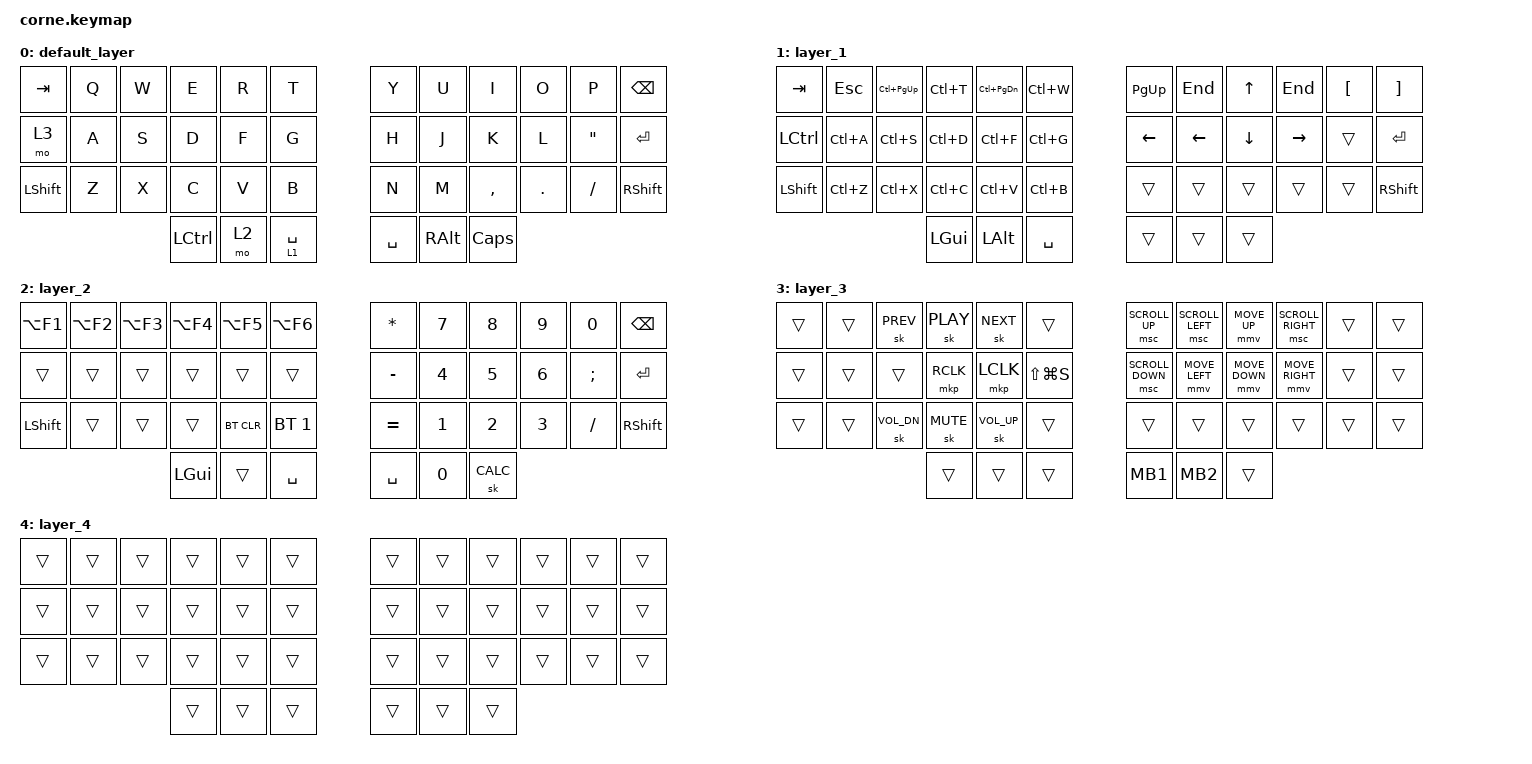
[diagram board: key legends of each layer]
/*
 * Copyright (c) 2020 The ZMK Contributors
 *
 * SPDX-License-Identifier: MIT
 */

#include <behaviors.dtsi>
#include <dt-bindings/zmk/keys.h>
#include <dt-bindings/zmk/bt.h>
#include <dt-bindings/zmk/mouse.h>
#include "mouse.dtsi"
#define AS(keycode) &as LS(keycode) keycode

#define BASE 0
#define NAV 1
#define MUS 2
#define NUM 3
#define FUN 4
#define MBASE 5
#define MNAV 6
#define MMUS 7
#define MNUM 8
#define MFUN 9
#define XXX &none
#define TRN &trans

/ {
    combos { compatible = "zmk,combos"; };

    keymap {
        compatible = "zmk,keymap";

        default_layer {
            // -----------------------------------------------------------------------------------------
            // |  TAB |  Q  |  W  |  E  |  R  |  T  |   |  Y  |  U   |  I  |  O  |  P  | BKSP |
            // |  mo3 |  A  |  S  |  D  |  F  |  G  |   |  H  |  J   |  K  |  L  |  ;  | ETR  |
            // | LSHFT|  Z  |  X  |  C  |  V  |  B  |   |  N  |  M   |  ,  |  .  |  /  | ESC  |
            //                    |LCTRL| mo2 | SPC |   | ENT | RSE  |CAPS |

            bindings = <
&kp TAB    &kp Q  &kp W  &kp E      &kp R  &kp T          &kp Y      &kp U          &kp I      &kp O    &kp P              &kp BSPC
&mo 3      &kp A  &kp S  &kp D      &kp F  &kp G          &kp H      &kp J          &kp K      &kp L    &kp DOUBLE_QUOTES  &kp ENTER
&kp LSHFT  &kp Z  &kp X  &kp C      &kp V  &kp B          &kp N      &kp M          &kp COMMA  &kp DOT  &kp FSLH           &kp RSHIFT
                         &kp LCTRL  &mo 2  &lt 1 SPACE    &kp SPACE  &kp RIGHT_ALT  &kp CAPS
            >;
        };

        layer_1 {
            // -----------------------------------------------------------------------------------------
            // |  TAB |  1  |  2  |  3  |  4  |  5  |   |  6  |  7  |  UP |  9  |  0  | BKSP |
            // | BTCLR| BT1 | BT2 | BT3 | BT4 | BT5 |   |     | LFT | DWN | RGT |     |      |
            // | SHFT |     |     |     |     |     |   |     |     |     |     |     |      |
            //                    | GUI |     | SPC |   | ENT |     | ALT |

            bindings = <
&kp TAB    &kp ESC    &kp LC(PAGE_UP)  &kp LC(T)  &kp LC(PAGE_DOWN)  &kp LC(W)    &kp PAGE_UP    &kp END         &kp UP_ARROW  &kp END          &kp LBKT  &kp RBKT
&kp LCTRL  &kp LC(A)  &kp LC(S)        &kp LC(D)  &kp LC(F)          &kp LC(G)    &kp LEFT       &kp LEFT_ARROW  &kp DOWN_ARROW  &kp RIGHT      &trans  &kp ENTER
&kp LSHFT  &kp LC(Z)  &kp LC(X)        &kp LC(C)  &kp LC(V)          &kp LC(B)    &trans         &trans          &trans        &trans           &trans  &kp RIGHT_SHIFT
                                       &kp LGUI   &kp LEFT_ALT       &kp SPACE    &trans         &trans          &trans
            >;
        };

        layer_2 {
            bindings = <
&kp LA(F1)  &kp LA(F2)  &kp LA(F3)  &kp LA(F4)  &kp LA(F5)      &kp LA(F6)      &kp ASTERISK  &kp N7        &kp N8        &kp N9        &kp N0         &kp BSPC
&trans      &trans      &trans      &trans      &trans          &trans          &kp MINUS     &kp NUMBER_4  &kp N5        &kp NUMBER_6  &kp SEMICOLON  &kp ENTER
&kp LSHIFT  &trans      &trans      &trans      &bt BT_CLR      &bt BT_SEL 1    &kp EQUAL     &kp NUMBER_1  &kp NUMBER_2  &kp NUMBER_3  &kp SLASH      &kp RIGHT_SHIFT
                                    &kp LGUI    &trans          &kp SPACE       &kp SPACE     &kp N0        &sk K_CALC
            >;
        };

        layer_3 {
            bindings = <
&trans  &trans  &sk K_PREV    &sk C_PLAY  &sk K_NEXT     &trans           &msc SCROLL_UP    &msc SCROLL_LEFT  &mmv MOVE_UP    &msc SCROLL_RIGHT   &trans  &trans
&trans  &trans  &trans        &mkp RCLK   &mkp LCLK      &kp LS(LG(S))    &msc SCROLL_DOWN  &mmv MOVE_LEFT    &mmv MOVE_DOWN  &mmv MOVE_RIGHT     &trans  &trans
&trans  &trans  &sk C_VOL_DN  &sk K_MUTE  &sk C_VOL_UP   &trans           &trans            &trans            &trans          &trans              &trans  &trans
                              &trans      &trans         &trans           &MB1            &MB2            &trans
            >;
        };

        layer_4 {
            bindings = <
&trans  &trans  &trans  &trans  &trans  &trans    &trans  &trans  &trans  &trans  &trans  &trans
&trans  &trans  &trans  &trans  &trans  &trans    &trans  &trans  &trans  &trans  &trans  &trans
&trans  &trans  &trans  &trans  &trans  &trans    &trans  &trans  &trans  &trans  &trans  &trans
                        &trans  &trans  &trans    &trans  &trans  &trans
            >;
        };
    };
};
